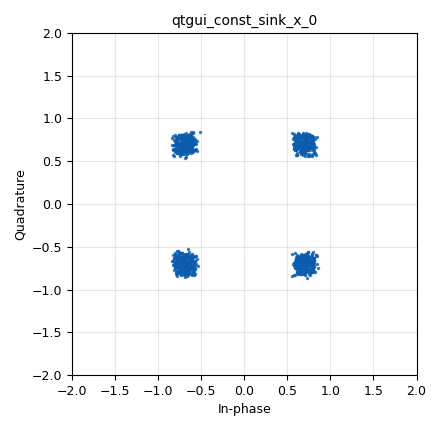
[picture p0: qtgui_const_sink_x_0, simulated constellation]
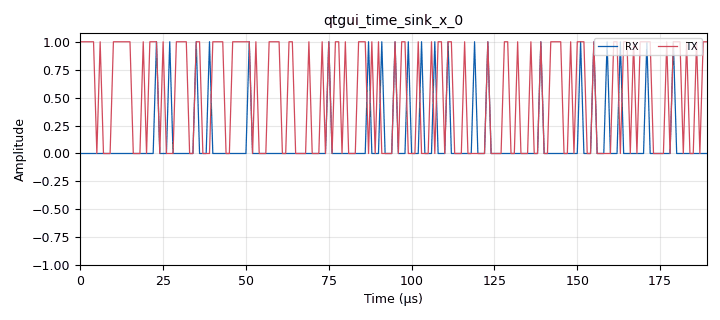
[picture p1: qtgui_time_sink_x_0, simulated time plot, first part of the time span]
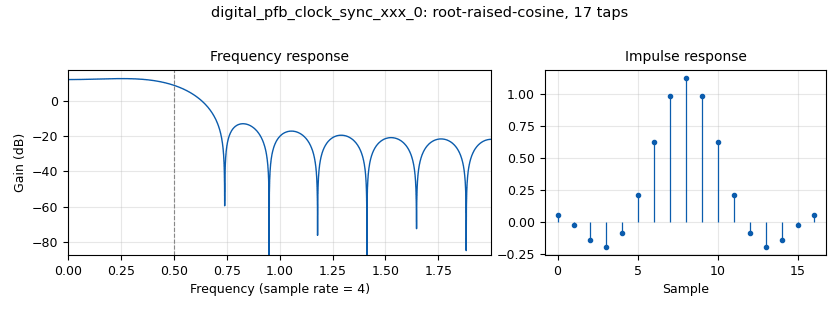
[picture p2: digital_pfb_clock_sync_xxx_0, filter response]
<?xml version='1.0' encoding='utf-8'?>
<?grc format='1' created='3.7.11'?>
<flow_graph>
<block>
<key>options</key>
<param><key>id</key><value>QPSK_mod_demod</value></param>
<param><key>generate_options</key><value>qt_gui</value></param>
</block>
<block>
<key>variable</key>
<param><key>id</key><value>arity</value></param>
<param><key>value</key><value>1</value></param>
</block>
<block>
<key>variable</key>
<param><key>id</key><value>excess_bw</value></param>
<param><key>value</key><value>0.35</value></param>
</block>
<block>
<key>variable</key>
<param><key>id</key><value>freq</value></param>
<param><key>value</key><value>0</value></param>
</block>
<block>
<key>variable</key>
<param><key>id</key><value>nfilts</value></param>
<param><key>value</key><value>16</value></param>
</block>
<block>
<key>variable</key>
<param><key>id</key><value>rrc_taps</value></param>
<param><key>value</key><value>firdes.root_raised_cosine(sps,sps,arity,excess_bw,nfilts)</value></param>
</block>
<block>
<key>variable</key>
<param><key>id</key><value>samp_rate</value></param>
<param><key>value</key><value>1e6</value></param>
</block>
<block>
<key>variable</key>
<param><key>id</key><value>sps</value></param>
<param><key>value</key><value>4</value></param>
</block>
<block>
<key>analog_random_source_x</key>
<param><key>id</key><value>analog_random_source_x_0</value></param>
<param><key>max</key><value>255</value></param>
<param><key>min</key><value>0</value></param>
<param><key>num_samps</key><value>1000</value></param>
<param><key>type</key><value>byte</value></param>
<param><key>repeat</key><value>True</value></param>
</block>
<block>
<key>blocks_char_to_float</key>
<param><key>id</key><value>blocks_char_to_float_0</value></param>
<param><key>scale</key><value>1</value></param>
</block>
<block>
<key>blocks_char_to_float</key>
<param><key>id</key><value>blocks_char_to_float_1</value></param>
<param><key>scale</key><value>1</value></param>
</block>
<block>
<key>blocks_delay</key>
<param><key>id</key><value>blocks_delay_0</value></param>
<param><key>delay</key><value>0</value></param>
<param><key>type</key><value>float</value></param>
</block>
<block>
<key>blocks_throttle</key>
<param><key>id</key><value>blocks_throttle_0</value></param>
<param><key>samples_per_second</key><value>samp_rate</value></param>
<param><key>type</key><value>complex</value></param>
</block>
<block>
<key>blocks_unpack_k_bits_bb</key>
<param><key>id</key><value>blocks_unpack_k_bits_bb_0</value></param>
<param><key>k</key><value>4</value></param>
</block>
<block>
<key>blocks_unpack_k_bits_bb</key>
<param><key>id</key><value>blocks_unpack_k_bits_bb_1</value></param>
<param><key>k</key><value>8</value></param>
</block>
<block>
<key>digital_cma_equalizer_cc</key>
<param><key>id</key><value>digital_cma_equalizer_cc_0</value></param>
<param><key>mu</key><value>0.1</value></param>
<param><key>modulus</key><value>1</value></param>
<param><key>num_taps</key><value>15</value></param>
<param><key>sps</key><value>4</value></param>
</block>
<block>
<key>digital_costas_loop_cc</key>
<param><key>id</key><value>digital_costas_loop_cc_0</value></param>
<param><key>w</key><value>0.0628</value></param>
<param><key>order</key><value>4</value></param>
</block>
<block>
<key>digital_pfb_clock_sync_xxx</key>
<param><key>id</key><value>digital_pfb_clock_sync_xxx_0</value></param>
<param><key>filter_size</key><value>32</value></param>
<param><key>init_phase</key><value>16</value></param>
<param><key>loop_bw</key><value>0.0628</value></param>
<param><key>max_dev</key><value>1.5</value></param>
<param><key>osps</key><value>1</value></param>
<param><key>sps</key><value>16</value></param>
<param><key>taps</key><value>rrc_taps</value></param>
<param><key>type</key><value>ccf</value></param>
</block>
<block>
<key>digital_psk_demod</key>
<param><key>id</key><value>digital_psk_demod_0</value></param>
<param><key>differential</key><value>True</value></param>
<param><key>excess_bw</key><value>0.35</value></param>
<param><key>freq_bw</key><value>6.28/100.0</value></param>
<param><key>mod_code</key><value>"gray"</value></param>
<param><key>constellation_points</key><value>4</value></param>
<param><key>phase_bw</key><value>6.28/100.0</value></param>
<param><key>samples_per_symbol</key><value>4</value></param>
<param><key>timing_bw</key><value>6.28/100.0</value></param>
</block>
<block>
<key>digital_psk_mod</key>
<param><key>id</key><value>digital_psk_mod_0</value></param>
<param><key>differential</key><value>True</value></param>
<param><key>excess_bw</key><value>0.35</value></param>
<param><key>mod_code</key><value>"gray"</value></param>
<param><key>constellation_points</key><value>4</value></param>
<param><key>samples_per_symbol</key><value>16</value></param>
</block>
<block>
<key>qtgui_const_sink_x</key>
<param><key>id</key><value>qtgui_const_sink_x_0</value></param>
<param><key>size</key><value>1024</value></param>
<param><key>type</key><value>complex</value></param>
</block>
<block>
<key>qtgui_time_sink_x</key>
<param><key>id</key><value>qtgui_time_sink_x_0</value></param>
<param><key>color1</key><value>"blue"</value></param>
<param><key>label1</key><value>RX</value></param>
<param><key>color2</key><value>"red"</value></param>
<param><key>label2</key><value>TX</value></param>
<param><key>nconnections</key><value>2</value></param>
<param><key>size</key><value>1024</value></param>
<param><key>srate</key><value>samp_rate</value></param>
<param><key>type</key><value>float</value></param>
</block>
<connection><source_block_id>analog_random_source_x_0</source_block_id><sink_block_id>blocks_unpack_k_bits_bb_1</sink_block_id><source_key>0</source_key><sink_key>0</sink_key></connection>
<connection><source_block_id>analog_random_source_x_0</source_block_id><sink_block_id>digital_psk_mod_0</sink_block_id><source_key>0</source_key><sink_key>0</sink_key></connection>
<connection><source_block_id>blocks_char_to_float_0</source_block_id><sink_block_id>qtgui_time_sink_x_0</sink_block_id><source_key>0</source_key><sink_key>0</sink_key></connection>
<connection><source_block_id>blocks_char_to_float_1</source_block_id><sink_block_id>blocks_delay_0</sink_block_id><source_key>0</source_key><sink_key>0</sink_key></connection>
<connection><source_block_id>blocks_delay_0</source_block_id><sink_block_id>qtgui_time_sink_x_0</sink_block_id><source_key>0</source_key><sink_key>1</sink_key></connection>
<connection><source_block_id>blocks_throttle_0</source_block_id><sink_block_id>digital_pfb_clock_sync_xxx_0</sink_block_id><source_key>0</source_key><sink_key>0</sink_key></connection>
<connection><source_block_id>blocks_unpack_k_bits_bb_0</source_block_id><sink_block_id>blocks_char_to_float_0</sink_block_id><source_key>0</source_key><sink_key>0</sink_key></connection>
<connection><source_block_id>blocks_unpack_k_bits_bb_1</source_block_id><sink_block_id>blocks_char_to_float_1</sink_block_id><source_key>0</source_key><sink_key>0</sink_key></connection>
<connection><source_block_id>digital_cma_equalizer_cc_0</source_block_id><sink_block_id>digital_costas_loop_cc_0</sink_block_id><source_key>0</source_key><sink_key>0</sink_key></connection>
<connection><source_block_id>digital_costas_loop_cc_0</source_block_id><sink_block_id>digital_psk_demod_0</sink_block_id><source_key>0</source_key><sink_key>0</sink_key></connection>
<connection><source_block_id>digital_costas_loop_cc_0</source_block_id><sink_block_id>qtgui_const_sink_x_0</sink_block_id><source_key>0</source_key><sink_key>0</sink_key></connection>
<connection><source_block_id>digital_pfb_clock_sync_xxx_0</source_block_id><sink_block_id>digital_cma_equalizer_cc_0</sink_block_id><source_key>0</source_key><sink_key>0</sink_key></connection>
<connection><source_block_id>digital_psk_demod_0</source_block_id><sink_block_id>blocks_unpack_k_bits_bb_0</sink_block_id><source_key>0</source_key><sink_key>0</sink_key></connection>
<connection><source_block_id>digital_psk_mod_0</source_block_id><sink_block_id>blocks_throttle_0</sink_block_id><source_key>0</source_key><sink_key>0</sink_key></connection>
</flow_graph>
